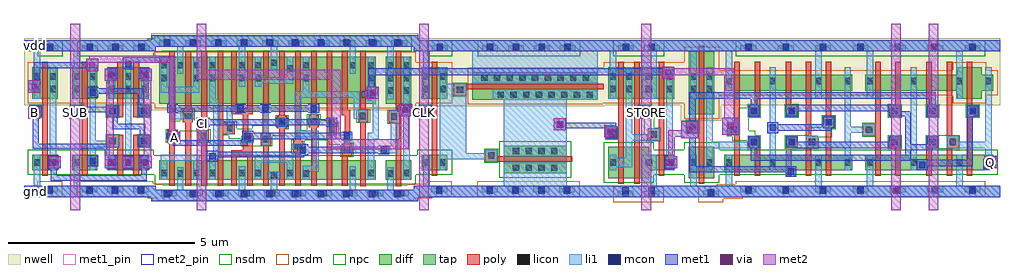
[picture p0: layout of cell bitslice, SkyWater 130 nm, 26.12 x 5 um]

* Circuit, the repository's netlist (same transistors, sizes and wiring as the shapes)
* NGSPICE file created from bitslice.ext - technology: sky130A

.subckt inverter A B gnd vdd
X0 B A gnd gnd sky130_fd_pr__nfet_01v8 ad=0.111 pd=1.37 as=0.111 ps=1.37 w=0.42 l=0.15
X1 B A vdd vdd sky130_fd_pr__pfet_01v8 ad=0.223 pd=2.21 as=0.223 ps=2.21 w=0.84 l=0.15
.ends

.subckt mux21 A B Y S gnd vdd
X0 Y S A vdd sky130_fd_pr__pfet_01v8 ad=0.118 pd=1.12 as=0.223 ps=2.21 w=0.84 l=0.15
X1 S_n S gnd gnd sky130_fd_pr__nfet_01v8 ad=0.111 pd=1.37 as=0.111 ps=1.37 w=0.42 l=0.15
X2 B S Y gnd sky130_fd_pr__nfet_01v8 ad=0.111 pd=1.37 as=0.0588 ps=0.7 w=0.42 l=0.15
X3 S_n S vdd vdd sky130_fd_pr__pfet_01v8 ad=0.223 pd=2.21 as=0.223 ps=2.21 w=0.84 l=0.15
X4 B S_n Y vdd sky130_fd_pr__pfet_01v8 ad=0.223 pd=2.21 as=0.118 ps=1.12 w=0.84 l=0.15
X5 Y S_n A gnd sky130_fd_pr__nfet_01v8 ad=0.0588 pd=0.7 as=0.111 ps=1.37 w=0.42 l=0.15
.ends

.subckt buffer_fo4 A B gnd vdd
X0 a_n240_0# A vdd vdd sky130_fd_pr__pfet_01v8 ad=0.223 pd=2.21 as=0.223 ps=2.21 w=0.84 l=0.15
X1 B a_n240_0# gnd gnd sky130_fd_pr__nfet_01v8 ad=0.47 pd=3.92 as=0.504 ps=3.96 w=1.68 l=0.15
X2 a_n240_0# A gnd gnd sky130_fd_pr__nfet_01v8 ad=0.111 pd=1.37 as=0.111 ps=1.37 w=0.42 l=0.15
X3 vdd a_n240_0# B vdd sky130_fd_pr__pfet_01v8 ad=1.01 pd=7.32 as=0.941 ps=7.28 w=3.36 l=0.15
.ends

.subckt addf A B CI gnd S CO vdd
X0 a_952_521# CI a_870_521# vdd sky130_fd_pr__pfet_01v8 ad=0.164 pd=1.52 as=0.164 ps=1.52 w=1.26 l=0.15
X1 S a_784_115# vdd vdd sky130_fd_pr__pfet_01v8 ad=0.334 pd=3.05 as=0.214 ps=1.6 w=1.26 l=0.15
X2 a_526_115# CI gnd gnd sky130_fd_pr__nfet_01v8 ad=0.0728 pd=0.8 as=0.0728 ps=0.8 w=0.52 l=0.15
X3 a_27_521# B vdd vdd sky130_fd_pr__pfet_01v8 ad=0.176 pd=1.54 as=0.176 ps=1.54 w=1.26 l=0.15
X4 a_952_115# CI a_870_115# gnd sky130_fd_pr__nfet_01v8 ad=0.0676 pd=0.78 as=0.0676 ps=0.78 w=0.52 l=0.15
X5 S a_784_115# gnd gnd sky130_fd_pr__nfet_01v8 ad=0.138 pd=1.57 as=0.0884 ps=0.86 w=0.52 l=0.15
X6 vdd A a_27_521# vdd sky130_fd_pr__pfet_01v8 ad=0.176 pd=1.54 as=0.334 ps=3.05 w=1.26 l=0.15
X7 a_784_115# CON a_526_521# vdd sky130_fd_pr__pfet_01v8 ad=0.176 pd=1.54 as=0.176 ps=1.54 w=1.26 l=0.15
X8 a_27_115# B gnd gnd sky130_fd_pr__nfet_01v8 ad=0.0728 pd=0.8 as=0.0728 ps=0.8 w=0.52 l=0.15
X9 gnd A a_27_115# gnd sky130_fd_pr__nfet_01v8 ad=0.0728 pd=0.8 as=0.138 ps=1.57 w=0.52 l=0.15
X10 a_784_115# CON a_526_115# gnd sky130_fd_pr__nfet_01v8 ad=0.0728 pd=0.8 as=0.0728 ps=0.8 w=0.52 l=0.15
X11 CON CI a_27_521# vdd sky130_fd_pr__pfet_01v8 ad=0.176 pd=1.54 as=0.176 ps=1.54 w=1.26 l=0.15
X12 vdd A a_368_521# vdd sky130_fd_pr__pfet_01v8 ad=0.176 pd=1.54 as=0.132 ps=1.47 w=1.26 l=0.15
X13 a_526_521# A vdd vdd sky130_fd_pr__pfet_01v8 ad=0.176 pd=1.54 as=0.176 ps=1.54 w=1.26 l=0.15
X14 CO CON vdd vdd sky130_fd_pr__pfet_01v8 ad=0.334 pd=3.05 as=0.334 ps=3.05 w=1.26 l=0.15
X15 CON CI a_27_115# gnd sky130_fd_pr__nfet_01v8 ad=0.0728 pd=0.8 as=0.0728 ps=0.8 w=0.52 l=0.15
X16 a_870_521# B a_784_115# vdd sky130_fd_pr__pfet_01v8 ad=0.164 pd=1.52 as=0.176 ps=1.54 w=1.26 l=0.15
X17 gnd A a_368_115# gnd sky130_fd_pr__nfet_01v8 ad=0.0728 pd=0.8 as=0.0546 ps=0.73 w=0.52 l=0.15
X18 a_526_115# A gnd gnd sky130_fd_pr__nfet_01v8 ad=0.0728 pd=0.8 as=0.0728 ps=0.8 w=0.52 l=0.15
X19 CO CON gnd gnd sky130_fd_pr__nfet_01v8 ad=0.138 pd=1.57 as=0.138 ps=1.57 w=0.52 l=0.15
X20 a_870_115# B a_784_115# gnd sky130_fd_pr__nfet_01v8 ad=0.0676 pd=0.78 as=0.0728 ps=0.8 w=0.52 l=0.15
X21 a_368_521# B CON vdd sky130_fd_pr__pfet_01v8 ad=0.132 pd=1.47 as=0.176 ps=1.54 w=1.26 l=0.15
X22 vdd B a_526_521# vdd sky130_fd_pr__pfet_01v8 ad=0.176 pd=1.54 as=0.176 ps=1.54 w=1.26 l=0.15
X23 vdd A a_952_521# vdd sky130_fd_pr__pfet_01v8 ad=0.214 pd=1.6 as=0.164 ps=1.52 w=1.26 l=0.15
X24 a_368_115# B CON gnd sky130_fd_pr__nfet_01v8 ad=0.0546 pd=0.73 as=0.0728 ps=0.8 w=0.52 l=0.15
X25 gnd B a_526_115# gnd sky130_fd_pr__nfet_01v8 ad=0.0728 pd=0.8 as=0.0728 ps=0.8 w=0.52 l=0.15
X26 gnd A a_952_115# gnd sky130_fd_pr__nfet_01v8 ad=0.0884 pd=0.86 as=0.0676 ps=0.78 w=0.52 l=0.15
X27 a_526_521# CI vdd vdd sky130_fd_pr__pfet_01v8 ad=0.176 pd=1.54 as=0.176 ps=1.54 w=1.26 l=0.15
.ends

.subckt d_flip_flop CLK D Q gnd vdd
X0 inverter_1_out common_1 vdd vdd sky130_fd_pr__pfet_01v8 ad=0.235 pd=1.96 as=0.0819 ps=0.81 w=0.42 l=0.15
X1 gnd inverter_1_out a_494_0# gnd sky130_fd_pr__nfet_01v8 ad=0.0819 pd=0.81 as=0.0819 ps=0.81 w=0.42 l=0.15
X2 common_2 CLK_n a_974_426# vdd sky130_fd_pr__pfet_01v8 ad=0.143 pd=1.1 as=0.0819 ps=0.81 w=0.42 l=0.15
X3 gnd Q a_1248_0# gnd sky130_fd_pr__nfet_01v8 ad=0.0819 pd=0.81 as=0.0819 ps=0.81 w=0.42 l=0.15
X4 a_974_0# inverter_1_out gnd gnd sky130_fd_pr__nfet_01v8 ad=0.0819 pd=0.81 as=0.111 ps=1.37 w=0.42 l=0.15
X5 a_220_426# D vdd vdd sky130_fd_pr__pfet_01v8 ad=0.0819 pd=0.81 as=0.111 ps=1.37 w=0.42 l=0.15
X6 a_494_0# CLK common_1 gnd sky130_fd_pr__nfet_01v8 ad=0.0819 pd=0.81 as=0.143 ps=1.1 w=0.42 l=0.15
X7 a_1248_0# CLK_n common_2 gnd sky130_fd_pr__nfet_01v8 ad=0.0819 pd=0.81 as=0.143 ps=1.1 w=0.42 l=0.15
X8 CLK_n CLK vdd vdd sky130_fd_pr__pfet_01v8 ad=0.445 pd=3.89 as=0.445 ps=3.89 w=1.68 l=0.15
X9 common_1 CLK a_220_426# vdd sky130_fd_pr__pfet_01v8 ad=0.143 pd=1.1 as=0.0819 ps=0.81 w=0.42 l=0.15
X10 Q common_2 vdd vdd sky130_fd_pr__pfet_01v8 ad=0.34 pd=2.8 as=0.134 ps=1.23 w=0.84 l=0.15
X11 a_1248_426# CLK common_2 vdd sky130_fd_pr__pfet_01v8 ad=0.0819 pd=0.81 as=0.143 ps=1.1 w=0.42 l=0.15
X12 CLK_n CLK gnd gnd sky130_fd_pr__nfet_01v8 ad=0.223 pd=2.21 as=0.223 ps=2.21 w=0.84 l=0.15
X13 common_1 CLK_n a_220_0# gnd sky130_fd_pr__nfet_01v8 ad=0.143 pd=1.1 as=0.0819 ps=0.81 w=0.42 l=0.15
X14 vdd Q a_1248_426# vdd sky130_fd_pr__pfet_01v8 ad=0.134 pd=1.23 as=0.0819 ps=0.81 w=0.42 l=0.15
X15 common_2 CLK a_974_0# gnd sky130_fd_pr__nfet_01v8 ad=0.143 pd=1.1 as=0.0819 ps=0.81 w=0.42 l=0.15
X16 inverter_1_out common_1 gnd gnd sky130_fd_pr__nfet_01v8 ad=0.235 pd=1.96 as=0.0819 ps=0.81 w=0.42 l=0.15
X17 Q common_2 gnd gnd sky130_fd_pr__nfet_01v8 ad=0.235 pd=1.96 as=0.0819 ps=0.81 w=0.42 l=0.15
X18 a_494_426# CLK_n common_1 vdd sky130_fd_pr__pfet_01v8 ad=0.0819 pd=0.81 as=0.143 ps=1.1 w=0.42 l=0.15
X19 a_974_426# inverter_1_out vdd vdd sky130_fd_pr__pfet_01v8 ad=0.0819 pd=0.81 as=0.111 ps=1.37 w=0.42 l=0.15
X20 a_220_0# D gnd gnd sky130_fd_pr__nfet_01v8 ad=0.0819 pd=0.81 as=0.111 ps=1.37 w=0.42 l=0.15
X21 vdd inverter_1_out a_494_426# vdd sky130_fd_pr__pfet_01v8 ad=0.0819 pd=0.81 as=0.0819 ps=0.81 w=0.42 l=0.15
.ends

.subckt and2 A B Y gnd vdd
X0 vdd B Y_n vdd sky130_fd_pr__pfet_01v8 ad=0.212 pd=1.35 as=0.118 ps=1.12 w=0.84 l=0.15
X1 Y Y_n vdd vdd sky130_fd_pr__pfet_01v8 ad=0.223 pd=2.21 as=0.212 ps=1.35 w=0.84 l=0.15
X2 Y Y_n gnd gnd sky130_fd_pr__nfet_01v8 ad=0.111 pd=1.37 as=0.159 ps=1.35 w=0.42 l=0.15
X3 Y_n A vdd vdd sky130_fd_pr__pfet_01v8 ad=0.118 pd=1.12 as=0.223 ps=2.21 w=0.84 l=0.15
X4 gnd B a_30_n42# gnd sky130_fd_pr__nfet_01v8 ad=0.159 pd=1.35 as=0.118 ps=1.12 w=0.84 l=0.15
X5 a_30_n42# A Y_n gnd sky130_fd_pr__nfet_01v8 ad=0.118 pd=1.12 as=0.223 ps=2.21 w=0.84 l=0.15
.ends

.subckt register D CLK EN Q vdd gnd
Xd_flip_flop_0 and2_0/Y D Q gnd vdd d_flip_flop
Xand2_0 CLK EN and2_0/Y gnd vdd and2
.ends

.subckt bitslice gnd vdd B A SUB CI STORE CLK CO Q
Xinverter_0 B mux21_0/B gnd vdd inverter
Xmux21_0 B mux21_0/B addf_0/B SUB gnd vdd mux21
Xbuffer_fo4_0 CLK register_0/CLK gnd vdd buffer_fo4
Xaddf_0 A addf_0/B CI gnd addf_0/S CO vdd addf
Xregister_0 addf_0/S register_0/CLK STORE Q vdd gnd register
.ends

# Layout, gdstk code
import gdstk
lib = gdstk.Library(unit=1e-6, precision=1e-09)
def R(c, l, rs):  # rectangles x0, y0, x1, y1
    for r in rs: c.add(gdstk.rectangle(r[:2], r[2:], *l))
def A(c, l, x, y, w, h, nx, ny, dx, dy):  # array of equal rectangles
    R(c, l, [(x+i*dx, y+j*dy, x+i*dx+w, y+j*dy+h) for i in range(nx) for j in range(ny)])
nwell = (64, 20)
diff = (65, 20)
tap = (65, 44)
poly = (66, 20)
licon = (66, 44)
li1 = (67, 20)
mcon = (67, 44)
met1_pin = (68, 16)
met1 = (68, 20)
via = (68, 44)
met2_pin = (69, 16)
met2 = (69, 20)
nsdm = (93, 44)
psdm = (94, 20)
npc = (95, 20)

d_flip_flop = lib.new_cell('d_flip_flop')
R(d_flip_flop, nwell, [(-0.49,1.32,0.595,1.74), (-0.49,1.74,8.06,3.53)])
R(d_flip_flop, diff, [(-0.265,-0.21,0.415,0.63), (0.685,0,4.11,0.42), (4.455,0,7.88,0.42), (-0.265,1.5,0.415,3.18), (6.92,1.92,7.57,2.13), (0.685,2.13,4.11,2.55), (4.455,2.13,7.88,2.55), (6.92,2.55,7.57,2.76)])
A(d_flip_flop, tap, 1.115, -0.59, 0.42, 0.17, 7, 2, 1, 3.77)
R(d_flip_flop, tap, [(0.115,-0.725,0.535,-0.555)])
R(d_flip_flop, poly, [(0,-0.36,0.15,1), (0.95,-0.15,1.1,0.93), (1.49,-0.15,1.64,0.59), (2.32,-0.15,2.47,0.59), (2.86,-0.15,3.01,0.59), (3.4,-0.15,3.55,1.12), (4.72,-0.15,4.87,0.92), (5.26,-0.15,5.41,0.59), (6.09,-0.15,6.24,0.59), (6.63,-0.15,6.78,0.59), (7.17,-0.15,7.32,1.42), (1.31,0.59,1.64,0.92), (2.32,0.59,2.65,0.92), (2.86,0.59,3.19,0.92), (5.08,0.59,5.41,0.92), (6.09,0.59,6.42,0.92), (6.63,0.59,6.96,0.92), (2.86,0.92,3.01,2.91), (4.39,0.92,4.87,1.25), (6.63,0.92,6.78,2.91), (0.77,0.93,1.1,1.26), (-0.33,1,0.15,1.33), (3.31,1.12,3.64,1.45), (4.72,1.25,4.87,2.91), (0.95,1.26,1.1,2.91), (0,1.33,0.15,3.33), (1.31,1.42,1.64,1.75), (2.32,1.42,2.65,1.75), (5.08,1.42,5.41,1.75), (6.09,1.42,6.42,1.75), (7.17,1.42,7.5,1.75), (3.4,1.45,3.55,2.91), (1.49,1.75,1.64,2.91), (2.32,1.75,2.47,2.91), (5.26,1.75,5.41,2.91), (6.09,1.75,6.24,2.91), (7.17,1.75,7.32,2.91)])
A(d_flip_flop, licon, 1.24, -0.59, 0.17, 0.17, 7, 2, 1, 3.77)
R(d_flip_flop, licon, [(0.24,-0.725,0.41,-0.555), (-0.225,0.125,-0.055,0.295), (0.205,0.125,0.375,0.295), (0.725,0.125,0.895,0.295), (1.895,0.125,2.065,0.295), (3.12,0.125,3.29,0.295), (3.9,0.125,4.07,0.295), (4.495,0.125,4.665,0.295), (5.665,0.125,5.835,0.295), (6.89,0.125,7.06,0.295), (7.67,0.125,7.84,0.295), (1.39,0.67,1.56,0.84), (2.4,0.67,2.57,0.84), (2.94,0.67,3.11,0.84), (5.16,0.67,5.33,0.84), (6.17,0.67,6.34,0.84), (6.71,0.67,6.88,0.84), (4.47,1,4.64,1.17), (0.85,1.01,1.02,1.18), (-0.25,1.08,-0.08,1.25), (3.39,1.2,3.56,1.37), (1.39,1.5,1.56,1.67), (2.4,1.5,2.57,1.67), (5.16,1.5,5.33,1.67), (6.17,1.5,6.34,1.67), (7.25,1.5,7.42,1.67), (-0.225,2.085,-0.055,2.255), (0.205,2.085,0.375,2.255), (0.725,2.29,0.895,2.46), (1.895,2.3,2.065,2.47), (3.12,2.3,3.29,2.47), (3.9,2.3,4.07,2.47), (4.495,2.3,4.665,2.47), (5.665,2.3,5.835,2.47), (6.89,2.3,7.06,2.47), (7.67,2.3,7.84,2.47), (-0.225,2.425,-0.055,2.595), (0.205,2.425,0.375,2.595)])
R(d_flip_flop, li1, [(-0.49,-0.725,8.06,-0.42), (-0.225,-0.42,-0.055,0.42), (0.725,-0.42,0.895,0.42), (3.12,-0.42,3.29,0.42), (4.495,-0.42,4.665,0.42), (6.89,-0.42,7.06,0.42), (2.32,-0.18,2.61,0.11), (0.205,0,0.375,0.59), (1.895,0,2.065,0.995), (3.9,0,4.07,0.59), (5.665,0,6.125,0.29), (7.67,0,7.84,0.59), (2.32,0.11,2.49,0.59), (5.665,0.29,5.835,2.76), (0.205,0.59,1.64,0.76), (2.32,0.59,2.65,0.92), (2.86,0.59,4.07,0.76), (5.08,0.59,5.41,0.92), (6.09,0.59,6.42,0.92), (6.63,0.59,7.84,0.76), (0.205,0.76,0.375,2.76), (1.31,0.76,1.64,0.92), (2.86,0.76,3.19,0.92), (3.9,0.76,4.07,1), (6.63,0.76,6.96,0.92), (7.67,0.76,7.84,2.76), (4.39,0.92,4.72,1), (0.77,0.93,1.1,1.26), (1.835,0.995,2.125,1.285), (-0.33,1,0,1.33), (3.9,1,4.72,1.17), (3.31,1.12,3.64,1.45), (3.9,1.17,4.07,2.76), (4.39,1.17,4.72,1.25), (1.895,1.285,2.065,2.76), (1.31,1.42,1.64,1.75), (2.32,1.42,2.65,1.75), (5.08,1.42,5.41,1.75), (6.09,1.42,6.42,1.75), (7.17,1.42,7.5,1.75), (-0.225,1.92,-0.055,3.18), (3.12,1.92,3.29,3.18), (4.495,1.92,4.665,3.18), (6.89,1.92,7.06,3.18), (0.725,2.13,0.895,3.18), (-0.49,3.18,8.06,3.485)])
A(d_flip_flop, mcon, 1.24, -0.63, 0.17, 0.17, 7, 2, 1, 3.85)
R(d_flip_flop, mcon, [(0.24,-0.685,0.41,-0.515), (2.38,-0.12,2.55,0.05), (5.895,0.06,6.065,0.23), (7.67,0.08,7.84,0.25), (1.39,0.67,1.56,0.84), (2.4,0.67,2.57,0.84), (5.16,0.67,5.33,0.84), (6.17,0.67,6.34,0.84), (0.85,1.01,1.02,1.18), (1.895,1.055,2.065,1.225), (-0.25,1.08,-0.08,1.25), (3.39,1.2,3.56,1.37), (1.39,1.5,1.56,1.67), (2.4,1.5,2.57,1.67), (5.16,1.5,5.33,1.67), (6.17,1.5,6.34,1.67), (7.25,1.5,7.42,1.67)])
R(d_flip_flop, met1, [(-0.49,-0.725,8.06,-0.42), (2.32,-0.18,2.61,-0.06), (-0.25,-0.06,2.61,0.11), (5.835,0,6.125,0.11), (7.61,0.02,7.9,0.05), (7.61,0.05,7.98,0.31), (-0.25,0.11,-0.08,0.86), (5.835,0.11,7.33,0.28), (1.39,0.25,5.67,0.42), (5.835,0.28,6.125,0.29), (7.19,0.28,7.33,1.44), (7.64,0.31,7.98,0.39), (1.39,0.42,1.56,0.61), (5.53,0.42,5.67,0.53), (5.53,0.53,6.26,0.61), (2.62,0.59,5.32,0.61), (1.33,0.61,1.62,0.9), (2.34,0.61,5.39,0.76), (5.53,0.61,6.4,0.7), (5.53,0.7,5.67,1.44), (6.11,0.7,6.4,0.9), (2.34,0.76,2.63,0.9), (5.1,0.76,5.39,0.9), (-0.47,0.86,-0.02,1.31), (0.63,0.95,1.08,1.4), (1.835,0.995,2.125,1.055), (1.835,1.055,3.555,1.14), (1.835,1.14,3.62,1.225), (1.835,1.225,2.125,1.285), (3.33,1.225,3.62,1.43), (-0.25,1.31,-0.08,1.92), (1.33,1.44,1.62,1.73), (2.34,1.44,2.63,1.58), (5.1,1.44,5.67,1.54), (6.11,1.44,6.4,1.73), (7.19,1.44,7.48,1.73), (5.1,1.54,5.64,1.58), (2.32,1.58,5.39,1.73), (1.39,1.73,1.56,1.92), (2.32,1.73,5.33,1.75), (6.17,1.73,6.34,1.92), (-0.25,1.92,6.34,2.09), (-0.49,3.18,8.06,3.485)])
R(d_flip_flop, via, [(7.735,0.145,7.885,0.295), (-0.32,1.01,-0.17,1.16), (0.78,1.1,0.93,1.25)])
R(d_flip_flop, met2_pin, [(7.67,0.08,7.95,0.36), (0.85,1.01,1.02,1.18), (-0.25,1.08,-0.08,1.25)])
R(d_flip_flop, met2, [(7.64,0.05,7.98,0.39), (-0.47,0.86,-0.02,1.31), (0.63,0.95,1.08,1.4)])
R(d_flip_flop, nsdm, [(-0.39,-0.335,0.54,-0.125), (-0.39,-0.125,8.005,0.545), (-0.39,0.545,0.54,0.755), (0.99,3.055,7.66,3.475)])
R(d_flip_flop, psdm, [(-0.01,-0.85,0.66,-0.765), (-0.01,-0.765,1.175,-0.715), (-0.01,-0.715,7.66,-0.43), (0.475,-0.43,7.66,-0.38), (0.99,-0.38,7.66,-0.295), (-0.39,1.375,0.54,2.005), (6.795,1.795,7.695,2.005), (-0.39,2.005,8.005,2.675), (-0.39,2.675,0.54,3.305), (6.795,2.675,7.695,2.885)])
R(d_flip_flop, npc, [(1.29,0.57,1.66,0.79), (2.3,0.57,3.21,0.885), (5.06,0.57,5.43,0.94), (6.07,0.57,6.98,0.94), (0.895,0.79,1.66,0.91), (2.3,0.885,3.555,0.94), (4.37,0.9,4.74,1.27), (0.75,0.91,1.66,0.94), (0.75,0.94,1.515,1.06), (2.945,0.94,3.555,1.1), (-0.35,0.98,0.02,1.35), (0.75,1.06,1.34,1.28), (2.945,1.1,3.66,1.155), (3.29,1.155,3.66,1.47), (1.07,1.28,1.34,1.4), (1.07,1.4,1.66,1.67), (2.3,1.4,2.67,1.77), (5.06,1.4,5.43,1.77), (6.07,1.4,6.44,1.77), (7.15,1.4,7.52,1.77), (1.29,1.67,1.66,1.77)])
d_flip_flop.add(gdstk.Label('CLK_n', (0.29,0.68), layer=67, texttype=5))
d_flip_flop.add(gdstk.Label('common_1', (1.98,1.14), layer=68, texttype=5))
d_flip_flop.add(gdstk.Label('inverter_1_out', (4,1.09), layer=67, texttype=5))
d_flip_flop.add(gdstk.Label('common_2', (5.98,0.15), layer=68, texttype=5))
d_flip_flop.add(gdstk.Label('CLK', (-0.165,1.165), layer=69, texttype=5))
d_flip_flop.add(gdstk.Label('D', (0.935,1.095), layer=69, texttype=5))
d_flip_flop.add(gdstk.Label('Q', (7.81,0.22), layer=69, texttype=5))
d_flip_flop.add(gdstk.Label('gnd', (-0.34,-0.595), layer=67, texttype=5))
d_flip_flop.add(gdstk.Label('vdd', (-0.25,3.35), layer=67, texttype=5))

and2 = lib.new_cell('and2')
R(and2, nwell, [(-0.49,1.74,1.68,3.53)])
R(and2, diff, [(-0.265,-0.21,0.83,0), (-0.265,0,1.5,0.42), (-0.265,0.42,0.83,0.63), (-0.265,1.92,1.5,2.76)])
R(and2, tap, [(-0.01,-0.725,0.41,-0.555), (0.68,-0.725,1.1,-0.555), (0,3.18,0.42,3.35), (0.69,3.18,1.11,3.35)])
R(and2, poly, [(0,-0.36,0.15,0.83), (0.43,-0.36,0.58,1.42), (1.085,-0.15,1.235,0.79), (0.79,0.79,1.235,1.12), (-0.33,0.83,0.15,1.16), (1.085,1.12,1.235,2.91), (0,1.16,0.15,2.91), (0.43,1.42,0.875,1.75), (0.43,1.75,0.58,2.91)])
R(and2, licon, [(0.115,-0.725,0.285,-0.555), (0.805,-0.725,0.975,-0.555), (-0.225,0.125,-0.055,0.295), (0.745,0.125,0.915,0.295), (1.29,0.125,1.46,0.295), (0.87,0.87,1.04,1.04), (-0.25,0.91,-0.08,1.08), (0.625,1.5,0.795,1.67), (-0.225,2.085,-0.055,2.255), (0.205,2.085,0.375,2.255), (0.745,2.085,0.915,2.255), (1.29,2.085,1.46,2.255), (-0.225,2.425,-0.055,2.595), (0.205,2.425,0.375,2.595), (0.745,2.425,0.915,2.595), (1.29,2.425,1.46,2.595), (0.125,3.18,0.295,3.35), (0.815,3.18,0.985,3.35)])
R(and2, li1, [(-0.5,-0.725,1.67,-0.42), (0.635,-0.42,1.03,0.42), (-0.225,0,-0.055,0.08), (1.29,0,1.46,0.02), (1.23,0.02,1.52,0.4), (-0.225,0.08,0.375,0.34), (-0.225,0.34,-0.055,0.42), (0.205,0.34,0.375,0.79), (1.29,0.4,1.46,2.76), (0.205,0.79,1.12,0.96), (-0.33,0.83,0,1.16), (0.205,0.96,0.375,2.76), (0.79,0.96,1.12,1.12), (0.545,1.42,0.875,1.75), (-0.225,1.92,-0.055,3.18), (0.635,1.92,1.03,3.18), (-0.49,3.18,1.68,3.485)])
R(and2, mcon, [(0.115,-0.63,0.285,-0.46), (0.805,-0.63,0.975,-0.46), (1.29,0.125,1.46,0.295), (-0.25,0.91,-0.08,1.08), (0.625,1.5,0.795,1.67), (0.125,3.22,0.295,3.39), (0.815,3.22,0.985,3.39)])
R(and2, met1, [(-0.5,-0.725,1.67,-0.42), (1.23,0.02,1.52,0.05), (1.23,0.05,1.58,0.37), (1.23,0.37,1.52,0.4), (-0.31,0.85,-0.02,0.88), (-0.37,0.88,-0.02,1.14), (-0.37,1.14,-0.05,1.2), (0.595,1.38,0.915,1.44), (0.565,1.44,0.915,1.7), (0.565,1.7,0.855,1.73), (-0.49,3.18,1.68,3.485)])
R(and2, via, [(1.345,0.135,1.495,0.285), (-0.285,0.965,-0.135,1.115), (0.68,1.465,0.83,1.615)])
R(and2, met2, [(1.26,0.05,1.58,0.37), (-0.37,0.88,-0.05,1.2), (0.595,1.38,0.915,1.7)])
R(and2, nsdm, [(-0.39,-0.335,0.955,-0.125), (-0.39,-0.125,1.625,0.545), (-0.39,0.545,0.955,0.755), (-0.125,3.055,1.235,3.475)])
R(and2, psdm, [(-0.135,-0.85,1.225,-0.43), (-0.39,1.795,1.625,2.885)])
R(and2, npc, [(0.77,0.77,1.14,0.955), (-0.35,0.81,0.02,1.18), (0.695,0.955,1.14,1.14), (0.695,1.14,0.97,1.4), (0.525,1.4,0.97,1.585), (0.525,1.585,0.895,1.77)])
and2.add(gdstk.Label('Y_n', (0.955,0.955), layer=67, texttype=5))
and2.add(gdstk.Label('A', (-0.21,1.04), layer=69, texttype=5))
and2.add(gdstk.Label('B', (0.755,1.54), layer=69, texttype=5))
and2.add(gdstk.Label('Y', (1.42,0.21), layer=69, texttype=5))
and2.add(gdstk.Label('gnd', (-0.35,-0.58), layer=68, texttype=5))
and2.add(gdstk.Label('vdd', (-0.35,3.34), layer=68, texttype=5))

register = lib.new_cell('register')
R(register, met1, [(0,0,0.615,0.305), (0.01,3.905,0.625,4.21)])
R(register, met2, [(10.44,0.93,10.5,0.98), (1.84,1.08,2.01,1.62), (1.84,1.62,2.43,1.79), (0.26,1.74,0.32,1.79), (3.48,1.89,3.54,1.94), (1.22,2.24,1.28,2.29)])
R(register, nsdm, [(2.125,0.6,2.27,1.27)])
R(register, psdm, [(2.125,2.52,2.27,3.61)])
register.add(gdstk.Reference(d_flip_flop, (2.66,0.725)))
register.add(gdstk.Reference(and2, (0.5,0.725)))
register.add(gdstk.Label('D', (3.51,1.92), layer=69, texttype=5))
register.add(gdstk.Label('CLK', (0.29,1.77), layer=69, texttype=5))
register.add(gdstk.Label('EN', (1.25,2.26), layer=69, texttype=5))
register.add(gdstk.Label('Q', (10.47,0.96), layer=69, texttype=5))
register.add(gdstk.Label('gnd', (0.15,0.15), layer=68, texttype=5))
register.add(gdstk.Label('vdd', (0.12,4.05), layer=68, texttype=5))

mux21 = lib.new_cell('mux21')
R(mux21, nwell, [(-0.49,1.74,1.98,3.53)])
R(mux21, diff, [(-0.265,0,0.415,0.42), (0.685,0,1.795,0.42), (-0.265,1.92,0.415,2.76), (0.685,1.92,1.795,2.76)])
A(mux21, tap, -0.01, -0.59, 0.42, 0.17, 3, 1, 0.69, 0)
A(mux21, tap, 0, 3.18, 0.42, 0.17, 3, 1, 0.69, 0)
R(mux21, poly, [(0,-0.15,0.15,1.42), (0.95,-0.15,1.1,0.62), (1.38,-0.15,1.53,0.62), (0.655,0.62,1.1,0.95), (1.38,0.62,1.825,0.95), (-0.3,1.42,0.15,1.75), (0.655,1.42,1.1,1.75), (1.38,1.42,1.825,1.75), (0,1.75,0.15,2.91), (0.95,1.75,1.1,2.91), (1.38,1.75,1.53,2.91)])
A(mux21, licon, 0.115, -0.59, 0.17, 0.17, 3, 1, 0.69, 0)
A(mux21, licon, 0.725, 0.125, 0.17, 0.17, 3, 2, 0.43, 1.96)
A(mux21, licon, 0.725, 2.425, 0.17, 0.17, 3, 1, 0.43, 0)
A(mux21, licon, 0.125, 3.18, 0.17, 0.17, 3, 1, 0.69, 0)
R(mux21, licon, [(-0.225,0.125,-0.055,0.295), (0.205,0.125,0.375,0.295), (0.735,0.7,0.905,0.87), (1.575,0.7,1.745,0.87), (-0.22,1.5,-0.05,1.67), (0.735,1.5,0.905,1.67), (1.575,1.5,1.745,1.67), (-0.225,2.085,-0.055,2.255), (0.205,2.085,0.375,2.255), (-0.225,2.425,-0.055,2.595), (0.205,2.425,0.375,2.595)])
R(mux21, li1, [(-0.5,-0.725,1.97,-0.42), (-0.225,-0.42,-0.055,0.42), (0.205,0,0.375,0.62), (0.725,0,0.895,0.42), (1.155,0,1.325,2.76), (1.585,0,1.755,0.42), (0.205,0.62,0.985,0.79), (1.495,0.62,1.825,0.95), (0.205,0.79,0.375,2.76), (0.655,0.79,0.985,0.95), (-0.3,1.42,0.03,1.75), (0.655,1.42,0.985,1.75), (1.495,1.42,1.825,1.75), (-0.225,1.92,-0.055,3.18), (0.725,1.92,0.895,2.76), (1.585,1.92,1.755,2.76), (-0.49,3.18,1.98,3.485)])
A(mux21, mcon, 0.115, -0.63, 0.17, 0.17, 3, 1, 0.69, 0)
A(mux21, mcon, 0.725, 0.125, 0.17, 0.17, 3, 1, 0.43, 0)
A(mux21, mcon, 0.125, 3.22, 0.17, 0.17, 3, 1, 0.69, 0)
R(mux21, mcon, [(0.205,0.17,0.375,0.34), (1.575,0.7,1.745,0.87), (-0.22,1.5,-0.05,1.67), (0.735,1.5,0.905,1.67), (1.575,1.5,1.745,1.67), (0.205,2,0.375,2.17), (0.725,2.51,0.895,2.68), (1.585,2.51,1.755,2.68)])
R(mux21, met1, [(-0.5,-0.725,1.97,-0.42), (0.665,0.02,0.955,0.05), (1.095,0.02,1.385,0.4), (1.525,0.02,1.815,0.05), (0.605,0.05,0.955,0.37), (1.525,0.05,1.875,0.37), (0.145,0.11,0.435,0.4), (0.665,0.37,0.955,0.4), (1.525,0.37,1.815,0.4), (1.515,0.64,1.805,0.93), (1.55,0.93,1.7,1.1), (0.815,1.1,1.7,1.25), (0.815,1.25,0.965,1.44), (-0.28,1.44,0.01,1.55), (0.675,1.44,0.965,1.55), (1.515,1.44,1.805,1.7), (-0.28,1.55,0.965,1.7), (-0.28,1.7,0.01,1.73), (0.675,1.7,0.965,1.73), (1.5,1.7,1.805,1.73), (1.5,1.73,1.8,1.75), (1.5,1.75,1.65,2.05), (0.145,1.94,0.435,2.05), (0.145,2.05,1.65,2.2), (0.145,2.2,0.435,2.23), (0.605,2.39,0.925,2.45), (1.555,2.39,1.875,2.45), (0.605,2.45,0.955,2.71), (1.525,2.45,1.875,2.71), (0.665,2.71,0.955,2.74), (1.525,2.71,1.815,2.74), (-0.49,3.18,1.98,3.485)])
A(mux21, via, 0.69, 0.135, 0.15, 0.15, 3, 1, 0.475, 0)
R(mux21, via, [(0.69,2.475,0.84,2.625), (1.64,2.475,1.79,2.625)])
A(mux21, met2, 0.605, 0.05, 0.32, 0.32, 3, 1, 0.475, 0)
R(mux21, met2, [(0.65,0.37,0.85,2.39), (1.65,0.37,1.85,2.39), (0.605,2.39,0.925,2.71), (1.555,2.39,1.875,2.71)])
R(mux21, nsdm, [(-0.39,-0.125,1.92,0.545), (-0.125,3.055,1.925,3.475)])
R(mux21, psdm, [(-0.135,-0.715,1.915,-0.295), (-0.39,1.795,1.92,2.885)])
R(mux21, npc, [(0.635,0.6,1.005,0.97), (1.475,0.6,1.845,0.97), (-0.32,1.4,0.05,1.77), (0.635,1.4,1.005,1.77), (1.475,1.4,1.845,1.77)])
mux21.add(gdstk.Label('S_n', (0.3,0.7), layer=67, texttype=5))
mux21.add(gdstk.Label('vdd', (0.9,3.265), layer=68, texttype=5))
mux21.add(gdstk.Label('vdd', (1.59,3.265), layer=68, texttype=5))
mux21.add(gdstk.Label('gnd', (0.89,-0.505), layer=68, texttype=5))
mux21.add(gdstk.Label('gnd', (1.58,-0.505), layer=68, texttype=5))
mux21.add(gdstk.Label('A', (0.81,0.21), layer=69, texttype=5))
mux21.add(gdstk.Label('B', (1.67,0.21), layer=69, texttype=5))
mux21.add(gdstk.Label('Y', (1.24,0.21), layer=69, texttype=5))
mux21.add(gdstk.Label('S', (-0.135,1.585), layer=68, texttype=5))
mux21.add(gdstk.Label('gnd', (0.2,-0.505), layer=68, texttype=5))
mux21.add(gdstk.Label('vdd', (0.21,3.265), layer=68, texttype=5))

inverter = lib.new_cell('inverter')
R(inverter, nwell, [(-0.49,1.74,0.64,3.53)])
R(inverter, diff, [(-0.265,0,0.415,0.42), (-0.265,1.92,0.415,2.76)])
R(inverter, tap, [(-0.01,-0.59,0.41,-0.42), (0,3.18,0.42,3.35)])
R(inverter, poly, [(0,-0.15,0.15,1.42), (-0.33,1.42,0.15,1.75), (0,1.75,0.15,2.91)])
R(inverter, licon, [(0.115,-0.59,0.285,-0.42), (-0.225,0.125,-0.055,0.295), (0.205,0.125,0.375,0.295), (-0.25,1.5,-0.08,1.67), (-0.225,2.085,-0.055,2.255), (0.205,2.085,0.375,2.255), (-0.225,2.425,-0.055,2.595), (0.205,2.425,0.375,2.595), (0.125,3.18,0.295,3.35)])
R(inverter, li1, [(-0.49,-0.725,0.63,-0.42), (-0.225,-0.42,-0.055,0.42), (0.205,0,0.375,0.02), (0.145,0.02,0.435,0.4), (0.205,0.4,0.375,2.76), (-0.33,1.42,0,1.75), (-0.225,1.92,-0.055,3.18), (-0.49,3.18,0.64,3.485)])
R(inverter, mcon, [(0.115,-0.63,0.285,-0.46), (0.205,0.125,0.375,0.295), (-0.25,1.5,-0.08,1.67), (0.125,3.22,0.295,3.39)])
R(inverter, met1, [(-0.49,-0.725,0.63,-0.42), (0.145,0.02,0.435,0.05), (0.145,0.05,0.495,0.37), (0.145,0.37,0.435,0.4), (-0.37,1.38,-0.05,1.44), (-0.37,1.44,-0.02,1.7), (-0.31,1.7,-0.02,1.73), (-0.49,3.18,0.64,3.485)])
R(inverter, via, [(0.26,0.135,0.41,0.285), (-0.285,1.465,-0.135,1.615)])
R(inverter, met2, [(0.175,0.05,0.495,0.37), (-0.37,1.38,-0.05,1.7)])
R(inverter, nsdm, [(-0.39,-0.125,0.54,0.545), (-0.125,3.055,0.545,3.475)])
R(inverter, psdm, [(-0.135,-0.715,0.535,-0.295), (-0.39,1.795,0.54,2.885)])
R(inverter, npc, [(-0.35,1.4,0.02,1.77)])
inverter.add(gdstk.Label('A', (-0.21,1.54), layer=69, texttype=5))
inverter.add(gdstk.Label('B', (0.335,0.21), layer=69, texttype=5))
inverter.add(gdstk.Label('gnd', (-0.38,-0.58), layer=68, texttype=5))
inverter.add(gdstk.Label('vdd', (-0.39,3.32), layer=68, texttype=5))

buffer_fo4 = lib.new_cell('buffer_fo4')
R(buffer_fo4, nwell, [(-1.84,1.71,3.275,3.53)])
R(buffer_fo4, diff, [(0.575,-0.075,2.255,0.655), (-1.615,0,-0.935,0.42), (-0.265,1.89,3.095,2.62), (-1.615,1.92,-0.935,2.76)])
A(buffer_fo4, tap, -0.01, -0.59, 0.42, 0.17, 4, 1, 0.69, 0)
A(buffer_fo4, tap, 0, 3.18, 0.42, 0.17, 4, 1, 0.69, 0)
R(buffer_fo4, tap, [(-1.36,-0.59,-0.94,-0.42), (-1.35,3.18,-0.93,3.35)])
R(buffer_fo4, poly, [(-1.35,-0.15,-1.2,1.42), (0.075,0.225,2.405,0.375), (0.075,0.375,0.405,0.555), (-1.68,1.42,-1.2,1.75), (-1.35,1.75,-1.2,2.91), (-0.765,1.99,-0.435,2.17), (-0.765,2.17,3.245,2.32)])
A(buffer_fo4, licon, 0.115, -0.59, 0.17, 0.17, 4, 1, 0.69, 0)
A(buffer_fo4, licon, 0.82, -0.02, 0.17, 0.17, 4, 2, 0.34, 0.45)
A(buffer_fo4, licon, 0.41, 1.935, 0.17, 0.17, 8, 1, 0.34, 0)
A(buffer_fo4, licon, -0.03, 2.39, 0.17, 0.17, 9, 1, 0.34, 0)
A(buffer_fo4, licon, 0.125, 3.18, 0.17, 0.17, 4, 1, 0.69, 0)
R(buffer_fo4, licon, [(-1.235,-0.59,-1.065,-0.42), (-1.575,0.125,-1.405,0.295), (-1.145,0.125,-0.975,0.295), (0.155,0.305,0.325,0.475), (-1.6,1.5,-1.43,1.67), (-0.685,2.07,-0.515,2.24), (-1.575,2.085,-1.405,2.255), (-1.145,2.085,-0.975,2.255), (-1.575,2.425,-1.405,2.595), (-1.145,2.425,-0.975,2.595), (-1.225,3.18,-1.055,3.35)])
R(buffer_fo4, li1, [(-1.84,-0.725,3.265,-0.42), (-1.575,-0.42,-1.405,0.42), (0.575,-0.42,2.255,0.205), (-1.145,0,-0.975,0.29), (0.075,0.225,0.405,0.29), (-1.145,0.29,0.405,0.46), (0.575,0.375,2.255,1.89), (-1.145,0.46,-0.435,2.32), (0.075,0.46,0.405,0.555), (-1.68,1.42,-1.35,1.75), (0.275,1.89,3.095,2.17), (-1.575,1.92,-1.405,3.18), (-1.145,2.32,-0.975,2.76), (-0.265,2.34,3.095,3.18), (-1.84,3.18,3.275,3.485)])
A(buffer_fo4, mcon, 0.115, -0.63, 0.17, 0.17, 4, 1, 0.69, 0)
A(buffer_fo4, mcon, 0.125, 3.22, 0.17, 0.17, 4, 1, 0.69, 0)
R(buffer_fo4, mcon, [(-1.235,-0.63,-1.065,-0.46), (1.99,1.14,2.16,1.31), (-1.6,1.5,-1.43,1.67), (-1.225,3.22,-1.055,3.39)])
R(buffer_fo4, met1, [(-1.84,-0.725,3.265,-0.42), (1.915,1.065,2.235,1.385), (-1.72,1.38,-1.4,1.44), (-1.72,1.44,-1.37,1.7), (-1.66,1.7,-1.37,1.73), (-1.84,3.18,3.275,3.485)])
R(buffer_fo4, via, [(2,1.15,2.15,1.3), (-1.635,1.465,-1.485,1.615)])
R(buffer_fo4, met2, [(1.915,1.065,2.235,1.385), (-1.72,1.38,-1.4,1.7)])
R(buffer_fo4, nsdm, [(0.45,-0.2,2.38,0.78), (-1.74,-0.125,-0.81,0.545), (-1.475,3.055,-0.805,3.475), (-0.125,3.055,2.615,3.475)])
R(buffer_fo4, psdm, [(-1.485,-0.715,-0.815,-0.295), (-0.135,-0.715,2.605,-0.295), (-0.39,1.765,3.22,2.745), (-1.74,1.795,-0.81,2.885)])
R(buffer_fo4, npc, [(0.055,0.205,0.425,0.575), (-1.7,1.4,-1.33,1.77), (-0.785,1.97,-0.415,2.34)])
buffer_fo4.add(gdstk.Label('gnd', (-0.62,-0.55), layer=68, texttype=5))
buffer_fo4.add(gdstk.Label('vdd', (-0.64,3.33), layer=68, texttype=5))
buffer_fo4.add(gdstk.Label('A', (-1.56,1.54), layer=69, texttype=5))
buffer_fo4.add(gdstk.Label('B', (2.08,1.23), layer=69, texttype=5))
buffer_fo4.add(gdstk.Label('gnd', (-1.73,-0.58), layer=68, texttype=5))
buffer_fo4.add(gdstk.Label('vdd', (-1.74,3.32), layer=68, texttype=5))

addf = lib.new_cell('addf')
R(addf, nwell, [(-0.09,2.425,7.055,4.485)])
R(addf, diff, [(0.135,0.575,5.925,1.095), (6.195,0.575,6.875,1.095), (0.135,2.605,5.925,3.865), (6.195,2.605,6.875,3.865)])
A(addf, tap, 0.18, 0.135, 0.42, 0.17, 10, 1, 0.69, 0)
A(addf, tap, 0.13, 4.135, 0.42, 0.17, 10, 1, 0.69, 0)
R(addf, poly, [(5.51,0.4,5.66,2.11), (6.46,0.4,6.61,2.095), (0.4,0.405,0.55,1.575), (0.83,0.41,0.98,2.115), (1.26,0.41,1.41,1.575), (1.69,0.41,1.84,1.785), (2.05,0.41,2.2,1.205), (2.48,0.41,2.63,1.205), (2.91,0.41,3.06,1.49), (3.34,0.41,3.49,1.945), (3.77,0.41,3.92,1.29), (4.2,0.41,4.35,1.97), (4.61,0.41,4.76,1.755), (5.02,0.41,5.17,1.205), (2.05,1.205,2.63,1.355), (5.02,1.205,5.29,1.535), (3.71,1.29,3.98,1.62), (2.36,1.355,2.63,1.815), (2.84,1.49,3.11,1.82), (5.09,1.535,5.24,2.295), (0.35,1.575,0.62,1.905), (1.19,1.575,1.46,1.905), (3.77,1.62,3.92,4.005), (4.61,1.755,4.88,2.085), (1.69,1.785,2.15,2.115), (2.36,1.815,2.51,2.33), (2.91,1.82,3.06,4.005), (0.4,1.905,0.55,3.995), (1.26,1.905,1.41,4.005), (3.28,1.945,3.55,2.275), (4.13,1.97,4.4,2.3), (4.61,2.085,4.76,4.005), (6.275,2.095,6.61,2.425), (5.45,2.11,5.72,2.44), (0.76,2.115,1.03,2.445), (1.69,2.115,1.84,4.005), (3.34,2.275,3.49,4.005), (5.02,2.295,5.24,2.445), (4.2,2.3,4.35,4.005), (2.05,2.33,2.63,2.48), (6.46,2.425,6.61,4.005), (5.51,2.44,5.66,4.005), (0.83,2.445,0.98,3.995), (5.02,2.445,5.17,4.005), (2.05,2.48,2.2,3.995), (2.48,2.48,2.63,3.995)])
A(addf, licon, 0.305, 0.135, 0.17, 0.17, 10, 1, 0.69, 0)
A(addf, licon, 6.235, 2.87, 0.17, 0.17, 1, 3, 0, 0.34)
A(addf, licon, 6.665, 2.87, 0.17, 0.17, 1, 3, 0, 0.34)
A(addf, licon, 0.175, 3.55, 0.17, 0.17, 4, 1, 0.43, 0)
A(addf, licon, 0.255, 4.135, 0.17, 0.17, 10, 1, 0.69, 0)
R(addf, licon, [(3.115,0.615,3.285,0.785), (0.605,0.655,0.775,0.825), (3.975,0.655,4.145,0.825), (6.235,0.655,6.405,0.825), (0.175,0.67,0.345,0.84), (1.035,0.67,1.205,0.84), (1.465,0.67,1.635,0.84), (2.255,0.67,2.425,0.84), (2.685,0.67,2.855,0.84), (3.545,0.67,3.715,0.84), (5.225,0.67,5.395,0.84), (5.715,0.67,5.885,0.84), (6.665,0.67,6.835,0.84), (5.07,1.285,5.24,1.455), (3.76,1.37,3.93,1.54), (2.41,1.565,2.58,1.735), (2.89,1.57,3.06,1.74), (0.4,1.655,0.57,1.825), (1.24,1.655,1.41,1.825), (4.66,1.835,4.83,2.005), (1.93,1.865,2.1,2.035), (3.33,2.025,3.5,2.195), (4.18,2.05,4.35,2.22), (6.325,2.175,6.495,2.345), (5.5,2.19,5.67,2.36), (0.81,2.195,0.98,2.365), (0.175,3.21,0.345,3.38), (1.035,3.21,1.205,3.38), (1.465,3.21,1.635,3.38), (2.255,3.21,2.425,3.38), (2.685,3.21,2.855,3.38), (3.975,3.21,4.145,3.38), (5.715,3.21,5.885,3.38), (3.545,3.465,3.715,3.635), (2.255,3.55,2.425,3.72), (2.685,3.55,2.855,3.72), (3.975,3.55,4.145,3.72), (5.225,3.55,5.395,3.72), (5.715,3.55,5.885,3.72), (3.115,3.615,3.285,3.785)])
R(addf, li1, [(-0.09,0,7.055,0.305), (0.605,0.305,0.775,0.905), (2.255,0.305,2.425,0.935), (3.115,0.305,3.285,0.615), (5.225,0.305,5.395,0.935), (6.235,0.305,6.405,0.905), (1.035,0.57,1.205,1.075), (1.465,0.57,1.635,1.115), (2.685,0.57,2.855,1.03), (3.545,0.57,3.715,1.03), (3.975,0.57,4.145,0.78), (0.175,0.575,0.345,0.945), (5.715,0.575,5.885,1.655), (6.665,0.575,6.835,3.865), (3.035,0.615,3.365,0.785), (3.975,0.78,4.395,0.95), (0.175,0.945,0.35,1.075), (4.225,0.95,4.395,1.71), (2.685,1.03,3.715,1.2), (0.175,1.075,1.205,1.245), (1.465,1.115,1.75,1.285), (5.07,1.28,5.24,1.285), (1.58,1.285,1.75,2.545), (3.885,1.285,4.055,1.37), (4.99,1.285,5.32,1.455), (6.055,1.285,6.495,1.455), (3.68,1.37,4.055,1.455), (3.68,1.455,4.05,1.54), (5.07,1.455,5.24,1.825), (6.325,1.455,6.495,2.425), (2.89,1.49,3.06,2.565), (2.33,1.565,2.66,1.735), (1.24,1.575,1.41,2.195), (0.32,1.655,0.65,1.825), (5.715,1.655,6.01,1.825), (3.76,1.71,4.395,1.88), (2.41,1.735,2.58,1.825), (4.66,1.755,4.83,2.195), (1.93,1.785,2.1,2.395), (5.84,1.825,6.01,2.685), (3.76,1.88,3.93,2.55), (3.25,2.025,3.58,2.195), (4.1,2.05,4.43,2.22), (5.5,2.11,5.67,2.19), (5.445,2.19,5.67,2.205), (0.4,2.195,1.06,2.365), (5.33,2.205,5.67,2.44), (4.18,2.22,4.35,2.565), (0.4,2.365,0.57,2.565), (1.93,2.395,2.39,2.565), (5.33,2.44,5.5,2.77), (1.465,2.545,1.75,2.73), (3.76,2.55,3.935,2.765), (5.715,2.685,6.01,2.855), (6.235,2.725,6.405,4.135), (1.465,2.73,1.635,3.865), (3.76,2.765,4.06,2.77), (3.76,2.77,5.5,2.94), (5.715,2.855,5.885,3.865), (0.175,2.895,1.205,3.065), (3.975,2.94,4.145,3.865), (0.175,3.065,0.345,3.865), (1.035,3.065,1.205,3.865), (2.255,3.065,2.425,4.135), (2.685,3.065,2.855,3.145), (2.685,3.145,3.715,3.315), (2.685,3.315,2.855,3.865), (3.545,3.315,3.715,3.865), (0.605,3.405,0.775,4.135), (5.225,3.405,5.395,4.135), (3.115,3.535,3.285,4.135), (-0.09,4.135,7.055,4.44)])
A(addf, mcon, 0.255, 0.105, 0.17, 0.17, 10, 2, 0.685, 4.06)
R(addf, mcon, [(1.465,1.115,1.635,1.285), (3.885,1.285,4.055,1.455), (6.055,1.285,6.225,1.455), (0.4,1.655,0.57,1.825), (2.41,1.655,2.58,1.825), (5.07,1.655,5.24,1.825), (1.24,2.025,1.41,2.195), (3.33,2.025,3.5,2.195), (4.66,2.025,4.83,2.195), (0.4,2.395,0.57,2.565), (2.22,2.395,2.39,2.565), (2.89,2.395,3.06,2.565), (4.18,2.395,4.35,2.565), (6.665,2.395,6.835,2.565), (5.715,2.77,5.885,2.94)])
R(addf, met1, [(-0.09,0,7.055,0.305), (1.405,1.055,1.695,1.175), (1.405,1.175,4.01,1.225), (1.405,1.225,4.115,1.285), (5.995,1.255,6.285,1.285), (1.405,1.285,6.285,1.315), (1.405,1.315,1.695,1.345), (3.825,1.315,6.285,1.455), (3.825,1.455,4.115,1.515), (5.995,1.455,6.285,1.485), (0.485,1.485,2.495,1.595), (0.34,1.595,2.64,1.625), (0.34,1.625,0.63,1.885), (2.35,1.625,2.64,1.655), (5.01,1.625,5.3,1.655), (2.35,1.655,5.3,1.825), (2.35,1.825,2.64,1.885), (5.01,1.825,5.3,1.855), (1.18,1.995,1.48,2.025), (3.25,1.995,3.585,2.025), (4.6,1.995,4.89,2.025), (1.18,2.025,4.89,2.195), (1.18,2.195,1.48,2.225), (3.25,2.195,3.585,2.225), (4.6,2.195,4.89,2.225), (4.12,2.36,4.41,2.395), (0.34,2.365,0.63,2.395), (2.16,2.365,2.45,2.395), (2.83,2.365,3.12,2.395), (6.605,2.365,6.895,2.395), (0.34,2.395,4.41,2.565), (6.495,2.395,6.895,2.565), (0.34,2.565,0.63,2.595), (2.16,2.565,2.45,2.595), (2.83,2.565,3.12,2.595), (4.12,2.565,4.41,2.6), (6.605,2.565,6.895,2.595), (5.655,2.74,5.945,2.77), (5.545,2.77,5.945,2.94), (5.655,2.94,5.945,2.97), (-0.09,4.135,7.055,4.44)])
R(addf, nsdm, [(0.01,0.45,7,1.22), (0.005,4.01,6.885,4.43)])
R(addf, psdm, [(0.055,0.01,6.935,0.43), (0.01,2.48,7,3.99)])
R(addf, npc, [(4.97,1.185,5.34,1.51), (3.66,1.27,4.03,1.63), (2.31,1.465,2.68,1.47), (2.31,1.47,3.16,1.665), (4.66,1.51,5.34,1.555), (0.3,1.555,0.67,1.875), (1.14,1.555,1.51,1.875), (4.66,1.555,5.24,1.63), (3.66,1.63,5.24,1.64), (3.76,1.64,5.24,1.78), (1.99,1.665,3.16,1.745), (1.99,1.745,3.485,1.765), (1.83,1.765,3.485,1.925), (3.76,1.78,4.93,1.9), (0.3,1.875,1.51,1.925), (4.08,1.9,4.93,2.105), (0.4,1.925,1.41,2.145), (1.83,1.925,3.6,1.935), (1.83,1.935,2.2,2.135), (2.615,1.935,3.6,2.03), (3.23,2.03,3.6,2.295), (6.225,2.075,6.595,2.445), (5.4,2.09,5.77,2.46), (4.08,2.105,4.73,2.165), (0.71,2.145,1.08,2.465), (4.08,2.165,4.45,2.32)])
addf.add(gdstk.Label('CON', (6.14,1.37), layer=68, texttype=5))
addf.add(gdstk.Label('gnd', (1.03,0.24), layer=68, texttype=5))
addf.add(gdstk.Label('gnd', (1.72,0.24), layer=68, texttype=5))
addf.add(gdstk.Label('gnd', (2.41,0.24), layer=68, texttype=5))
addf.add(gdstk.Label('gnd', (3.1,0.24), layer=68, texttype=5))
addf.add(gdstk.Label('gnd', (3.79,0.24), layer=68, texttype=5))
addf.add(gdstk.Label('gnd', (4.48,0.24), layer=68, texttype=5))
addf.add(gdstk.Label('gnd', (5.17,0.24), layer=68, texttype=5))
addf.add(gdstk.Label('gnd', (5.86,0.24), layer=68, texttype=5))
addf.add(gdstk.Label('gnd', (6.55,0.24), layer=68, texttype=5))
addf.add(gdstk.Label('vdd', (1.03,4.2), layer=68, texttype=5))
addf.add(gdstk.Label('vdd', (1.72,4.2), layer=68, texttype=5))
addf.add(gdstk.Label('vdd', (2.41,4.2), layer=68, texttype=5))
addf.add(gdstk.Label('vdd', (3.1,4.2), layer=68, texttype=5))
addf.add(gdstk.Label('vdd', (3.79,4.2), layer=68, texttype=5))
addf.add(gdstk.Label('vdd', (4.48,4.2), layer=68, texttype=5))
addf.add(gdstk.Label('vdd', (5.17,4.2), layer=68, texttype=5))
addf.add(gdstk.Label('vdd', (5.86,4.2), layer=68, texttype=5))
addf.add(gdstk.Label('vdd', (6.55,4.2), layer=68, texttype=5))
addf.add(gdstk.Label('A', (0.485,1.74), layer=68, texttype=5))
addf.add(gdstk.Label('B', (0.645,2.48), layer=68, texttype=5))
addf.add(gdstk.Label('CI', (1.325,2.11), layer=68, texttype=5))
addf.add(gdstk.Label('gnd', (0.34,0.24), layer=68, texttype=5))
addf.add(gdstk.Label('S', (5.8,2.855), layer=68, texttype=5))
addf.add(gdstk.Label('CO', (6.75,2.48), layer=68, texttype=5))
addf.add(gdstk.Label('vdd', (0.34,4.2), layer=68, texttype=5))

bitslice = lib.new_cell('bitslice')
R(bitslice, li1, [(9.205,2.67,9.465,2.93), (2.705,3.405,2.875,3.655)])
R(bitslice, mcon, [(2.705,3.485,2.875,3.655)])
R(bitslice, met1_pin, [(0,0,0.605,0.305), (0,3.905,0.615,4.21)])
R(bitslice, met1, [(0,0,0.605,0.305), (23.21,0.045,23.47,0.305), (0.71,0.445,3.29,0.585), (0.71,0.585,0.87,0.81), (3.14,0.585,3.29,0.81), (0.71,0.81,0.83,0.82), (2.16,1.06,2.3,1.3), (0.23,1.3,2.3,1.44), (3.86,1.435,4.18,1.755), (0.23,1.44,0.4,2.11), (4.61,1.805,4.93,2.125), (14.37,1.85,15.85,1.99), (1.21,2.105,1.53,2.425), (10.035,2.175,10.355,2.495), (3.87,2.44,4.01,3.605), (9.175,2.64,9.495,2.96), (0.115,2.8,0.445,3.13), (9.22,2.96,9.39,3.27), (0.26,3.13,0.43,3.45), (17.08,3.18,17.4,3.27), (9.21,3.27,17.4,3.45), (1.66,3.38,1.99,3.45), (2.645,3.425,2.935,3.605), (0.26,3.45,1.99,3.62), (17.08,3.45,17.4,3.5), (2.645,3.605,4.01,3.745), (1.66,3.62,1.99,3.71), (0,3.905,0.615,4.21), (24.21,3.905,24.47,4.165)])
R(bitslice, via, [(23.265,0.1,23.415,0.25), (3.945,1.52,4.095,1.67), (4.695,1.89,4.845,2.04), (1.295,2.19,1.445,2.34), (10.12,2.26,10.27,2.41), (9.26,2.725,9.41,2.875), (0.205,2.89,0.355,3.04), (17.165,3.265,17.315,3.415), (1.75,3.47,1.9,3.62), (24.265,3.96,24.415,4.11)])
R(bitslice, met2_pin, [(25.73,0.805,26.01,1.085), (3.89,1.465,4.15,1.725), (4.64,1.835,4.9,2.095), (0.15,2.135,0.41,2.395), (1.24,2.135,1.5,2.395), (10.575,2.135,10.835,2.395), (16.525,2.135,16.785,2.395), (10.065,2.205,10.325,2.465)])
R(bitslice, met2, [(1.24,-0.35,1.5,2.105), (4.62,-0.35,4.88,1.805), (10.575,-0.35,10.835,4.65), (16.525,-0.35,16.785,4.65), (23.21,-0.35,23.47,4.65), (24.21,-0.35,24.47,4.65), (25.73,0.805,26.01,1.085), (8.22,1.29,10.3,1.55), (3.86,1.435,4.18,1.755), (8.22,1.55,8.48,3.15), (10.04,1.55,10.3,2.175), (3.89,1.755,4.05,3.6), (4.61,1.805,4.93,2.125), (18.74,1.9,19.01,3.27), (1.21,2.105,1.53,2.425), (0.15,2.135,0.41,2.395), (10.035,2.175,10.355,2.495), (1.24,2.425,1.5,4.65), (9.175,2.64,9.495,2.96), (0.115,2.8,0.445,3.13), (4.62,3.15,8.48,3.41), (17.08,3.18,17.4,3.27), (17.08,3.27,19.01,3.46), (1.66,3.38,1.99,3.6), (4.62,3.41,4.88,4.65), (17.08,3.46,17.4,3.5), (1.66,3.6,4.05,3.71), (1.74,3.71,4.05,3.78), (1.74,3.78,4.04,3.79)])
R(bitslice, nsdm, [(1.03,0.6,1.16,1.27), (3.47,0.6,3.5,1.12), (10.49,0.6,10.525,1.12), (3.475,3.865,3.5,3.89), (3.475,3.89,3.675,3.91), (3.475,3.91,3.495,4.2), (3.295,4.2,3.495,4.245)])
R(bitslice, psdm, [(3.315,-0.02,3.545,0.01), (10.425,-0.02,10.93,0.01), (3.465,0.01,3.545,0.33), (10.425,0.01,10.78,0.33), (3.465,0.33,3.695,0.35), (10.275,0.33,10.78,0.35), (3.465,0.35,3.5,0.36), (10.49,0.35,10.78,0.36), (1.03,2.52,1.16,3.61), (3.47,2.52,3.5,3.61), (10.49,2.52,10.525,3.61), (15.485,2.52,15.51,3.47)])
bitslice.add(gdstk.Reference(register, (15.4,0)))
bitslice.add(gdstk.Reference(mux21, (1.55,0.725)))
bitslice.add(gdstk.Reference(inverter, (0.49,0.725)))
bitslice.add(gdstk.Reference(buffer_fo4, (12.265,0.725)))
bitslice.add(gdstk.Reference(addf, (3.49,-0.1)))
bitslice.add(gdstk.Label('gnd', (0.302,0.152), layer=68, texttype=5))
bitslice.add(gdstk.Label('vdd', (0.307,4.057), layer=68, texttype=5))
bitslice.add(gdstk.Label('B', (0.28,2.265), layer=69, texttype=5))
bitslice.add(gdstk.Label('A', (4.02,1.595), layer=69, texttype=5))
bitslice.add(gdstk.Label('SUB', (1.37,2.265), layer=69, texttype=5))
bitslice.add(gdstk.Label('CI', (4.77,1.965), layer=69, texttype=5))
bitslice.add(gdstk.Label('STORE', (16.655,2.265), layer=69, texttype=5))
bitslice.add(gdstk.Label('CLK', (10.705,2.265), layer=69, texttype=5))
bitslice.add(gdstk.Label('CO', (10.195,2.335), layer=69, texttype=5))
bitslice.add(gdstk.Label('Q', (25.87,0.945), layer=69, texttype=5))

lib.write_gds('bitslice.gds')
